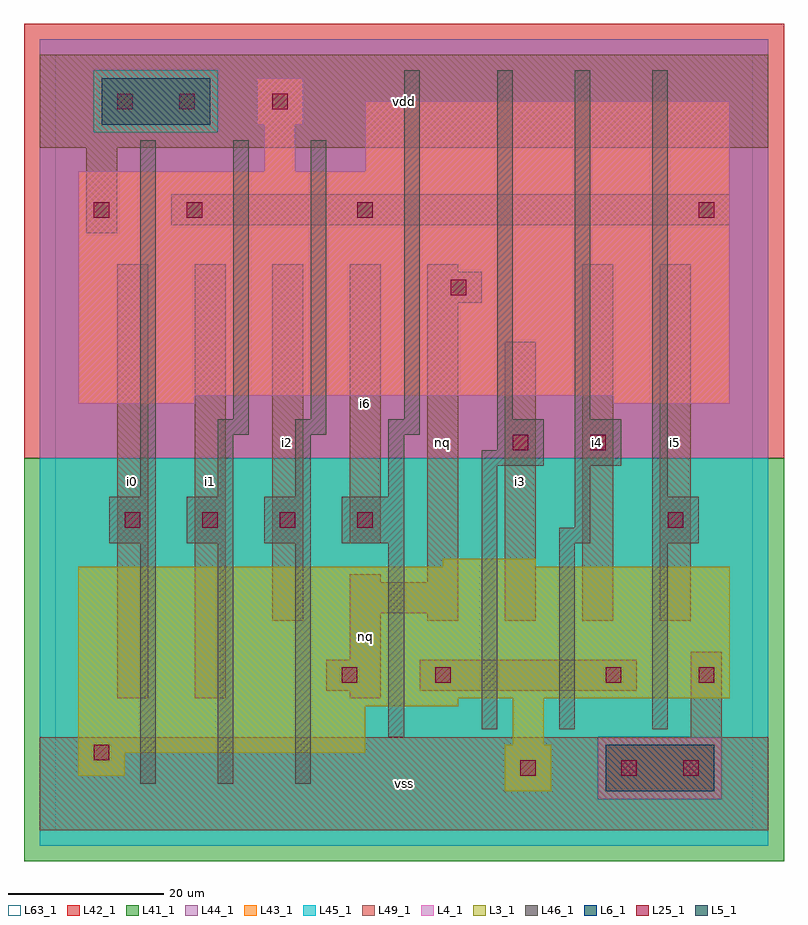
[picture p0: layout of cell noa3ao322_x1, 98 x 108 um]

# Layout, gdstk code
import gdstk
lib = gdstk.Library(unit=1e-6, precision=1e-09)
def R(c, l, rs):  # rectangles x0, y0, x1, y1
    for r in rs: c.add(gdstk.rectangle(r[:2], r[2:], *l))
def A(c, l, x, y, w, h, nx, ny, dx, dy):  # array of equal rectangles
    R(c, l, [(x+i*dx, y+j*dy, x+i*dx+w, y+j*dy+h) for i in range(nx) for j in range(ny)])
L3_1 = (3, 1)
L4_1 = (4, 1)
L5_1 = (5, 1)
L6_1 = (6, 1)
L25_1 = (25, 1)
L41_1 = (41, 1)
L42_1 = (42, 1)
L43_1 = (43, 1)
L44_1 = (44, 1)
L45_1 = (45, 1)
L46_1 = (46, 1)
L49_1 = (49, 1)
L63_1 = (63, 1)

noa3ao322_x1 = lib.new_cell('noa3ao322_x1')
R(noa3ao322_x1, L3_1, [(58,5,64,11), (3,7,9,10), (3,10,40,16), (59,11,63,17), (3,16,52,17), (3,17,87,34), (50,34,62,35)])
R(noa3ao322_x1, L4_1, [(3,55,18,56), (72,55,87,56), (3,56,87,85), (27,85,31,91), (40,85,87,94), (26,91,32,97)])
R(noa3ao322_x1, L5_1, [(6,91,20,97)])
R(noa3ao322_x1, L6_1, [(71,5,85,11), (71,5,85,11)])
A(noa3ao322_x1, L25_1, 9, 39, 2, 2, 4, 1, 10, 0)
R(noa3ao322_x1, L25_1, [(60,7,62,9), (73,7,75,9), (81,7,83,9), (5,9,7,11), (37,19,39,21), (49,19,51,21), (71,19,73,21), (83,19,85,21), (79,39,81,41), (59,49,61,51), (69,49,71,51), (51,69,53,71), (5,79,7,81), (17,79,19,81), (39,79,41,81), (83,79,85,81), (8,93,10,95), (16,93,18,95), (28,93,30,95)])
R(noa3ao322_x1, L41_1, [(-4,-4,94,48)])
R(noa3ao322_x1, L42_1, [(-4,48,94,104)])
R(noa3ao322_x1, L43_1, [(58,5,64,11), (71,5,85,11), (3,7,9,10), (3,10,40,16), (59,11,63,17), (3,16,52,17), (3,17,87,34), (50,34,62,35), (3,55,18,56), (72,55,87,56), (3,56,87,85), (27,85,31,91), (40,85,87,94), (6,91,20,97), (26,91,32,97)])
R(noa3ao322_x1, L44_1, [(70,4,86,12), (-2,48,92,90), (-2,90,5,98), (21,90,92,98), (-2,98,92,102)])
R(noa3ao322_x1, L45_1, [(-2,-2,92,4), (-2,4,70,12), (86,4,92,12), (-2,12,92,48), (5,90,21,98)])
A(noa3ao322_x1, L46_1, 11, 6, 2, 31, 3, 1, 10, 0)
A(noa3ao322_x1, L46_1, 7, 37, 6, 6, 3, 1, 10, 0)
R(noa3ao322_x1, L46_1, [(43,12,45,37), (55,13,57,47), (65,13,67,37), (77,13,79,37), (37,37,45,43), (65,37,69,39), (77,37,83,43), (67,39,69,47), (11,43,13,89), (21,43,23,51), (31,43,33,51), (43,43,45,51), (77,43,79,98), (55,47,63,49), (67,47,73,53), (57,49,63,53), (21,51,25,53), (31,51,35,53), (43,51,47,53), (23,53,25,89), (33,53,35,89), (45,53,47,98), (57,53,59,98), (67,53,69,98)])
R(noa3ao322_x1, L49_1, [(-2,0,92,12), (82,12,86,23), (8,17,12,73), (18,17,22,73), (38,17,42,18), (35,18,42,22), (47,18,75,22), (38,22,42,28), (28,27,32,73), (48,27,52,28), (58,27,62,63), (68,27,72,73), (78,27,82,73), (38,28,52,32), (38,32,42,33), (48,32,52,68), (38,37,42,73), (48,68,55,72), (48,72,52,73), (4,77,8,88), (15,78,87,82), (-2,88,92,100)])
R(noa3ao322_x1, L63_1, [(0,0,90,100)])
noa3ao322_x1.add(gdstk.Label('i0', (10,45), layer=49, texttype=1))
noa3ao322_x1.add(gdstk.Label('nq', (40,25), layer=49, texttype=1))
noa3ao322_x1.add(gdstk.Label('i1', (20,45), layer=49, texttype=1))
noa3ao322_x1.add(gdstk.Label('i2', (30,50), layer=49, texttype=1))
noa3ao322_x1.add(gdstk.Label('i6', (40,55), layer=49, texttype=1))
noa3ao322_x1.add(gdstk.Label('vss', (45,6), layer=49, texttype=1))
noa3ao322_x1.add(gdstk.Label('i3', (60,45), layer=49, texttype=1))
noa3ao322_x1.add(gdstk.Label('nq', (50,50), layer=49, texttype=1))
noa3ao322_x1.add(gdstk.Label('vdd', (45,94), layer=49, texttype=1))
noa3ao322_x1.add(gdstk.Label('i5', (80,50), layer=49, texttype=1))
noa3ao322_x1.add(gdstk.Label('i4', (70,50), layer=49, texttype=1))

lib.write_gds('noa3ao322_x1.gds')
